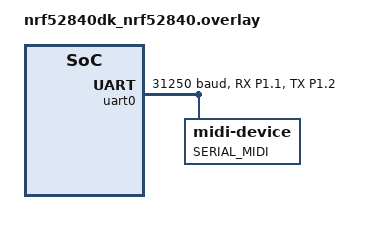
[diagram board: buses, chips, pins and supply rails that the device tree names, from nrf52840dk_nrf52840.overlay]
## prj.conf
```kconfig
# # Enable the UART driver
# CONFIG_UART_ASYNC_API=y
# CONFIG_NRFX_UARTE0=y
# CONFIG_SERIAL=y

# CONFIG_GPIO=y

# # Make sure printk is not printing to the UART console
# CONFIG_CONSOLE=y
# CONFIG_UART_CONSOLE=y

# CONFIG_HEAP_MEM_POOL_SIZE=2048

# CONFIG_MIDI=y
# CONFIG_MIDI_PARSER=y

# # Enable DK LED and Buttons library
# CONFIG_DK_LIBRARY=y

# # This example requires more workqueue stack
# CONFIG_SYSTEM_WORKQUEUE_STACK_SIZE=4096

# # Config logger
# CONFIG_LOG=y
# CONFIG_USE_SEGGER_RTT=y
# CONFIG_LOG_BACKEND_RTT=y
# CONFIG_LOG_BACKEND_UART=n

# CONFIG_ASSERT=y




# Enable DK LED and Buttons library
CONFIG_DK_LIBRARY=y
CONFIG_GPIO=y

# Config logger
CONFIG_LOG=y
CONFIG_USE_SEGGER_RTT=y
CONFIG_LOG_BACKEND_RTT=y
CONFIG_LOG_BACKEND_UART=n


CONFIG_ASSERT=y



# #net buf options
# CONFIG_NET_BUF=y
# CONFIG_NET_BUF_USER_DATA_SIZE=0

CONFIG_MIDI=y
CONFIG_MIDI_SERIAL=y
CONFIG_MIDI_PARSER=y

# CONFIG_MIDI_SYNC=y

CONFIG_HEAP_MEM_POOL_SIZE=512


# Enable the UART driver
CONFIG_UART_ASYNC_API=y
CONFIG_NRFX_UARTE0=y
CONFIG_SERIAL=y
```

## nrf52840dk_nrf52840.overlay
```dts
&pinctrl {
	uart0_default: uart0_default {
		group1 {
			psels = <NRF_PSEL(UART_RX, 1, 1)>;
			bias-pull-up;
		};
		group2 {
			psels = <NRF_PSEL(UART_TX, 1, 2)>;
		};
	};

	uart0_sleep: uart0_sleep {
		group1 {
			psels = <NRF_PSEL(UART_RX, 1, 1)>,
				<NRF_PSEL(UART_TX, 1, 2)>;
			low-power-enable;
		};
	};
};

&uart0 {
	current-speed = <31250>;
    pinctrl-0 = <&uart0_default>;
	pinctrl-1 = <&uart0_sleep>;
    midi_serial_device {
        label = "SERIAL_MIDI";
        compatible = "midi-device";
        midi_serial_in_device{
            compatible = "midi-serial-in-device";
            label = "SERIAL_MIDI_IN";
        };
    
        midi_serial_out_device{
            compatible = "midi-serial-out-device";
            label = "SERIAL_MIDI_OUT";
            handle-timestamps;
        };
    };

};
```

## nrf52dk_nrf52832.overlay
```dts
&pinctrl {
	uart0_default: uart0_default {
		group1 {
			psels = <NRF_PSEL(UART_TX, 0, 12)>,
				<NRF_PSEL(UART_RX, 0, 11)>,
				<NRF_PSEL(UART_RTS, 0, 5)>,
				<NRF_PSEL(UART_CTS, 0, 7)>;
		};
	};

	uart0_sleep: uart0_sleep {
		group1 {
			psels = <NRF_PSEL(UART_TX, 0, 12)>,
				<NRF_PSEL(UART_RX, 0, 11)>,
				<NRF_PSEL(UART_RTS, 0, 5)>,
				<NRF_PSEL(UART_CTS, 0, 7)>;
			low-power-enable;
		};
	};
};

&uart0 {
	current-speed = <31250>;
    pinctrl-0 = <&uart0_default>;
	pinctrl-1 = <&uart0_sleep>;
    midi_serial_device {
        label = "SERIAL_MIDI";
        compatible = "midi-serial-device";
        midi_serial_in_device{
            compatible = "midi-serial-in-device";
            label = "SERIAL_MIDI_IN";
        };
    
        midi_serial_out_device{
            compatible = "midi-serial-out-device";
            label = "SERIAL_MIDI_OUT";
            handle-timestamps;
        };
    };

};
```

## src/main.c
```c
#include <zephyr/types.h>
#include <zephyr/device.h>
#include <soc.h>

#include <dk_buttons_and_leds.h>
#include <midi/midi.h>
#include <midi/midi_parser.h>

#include <zephyr/logging/log.h>

#define LOG_MODULE_NAME midi
LOG_MODULE_REGISTER(LOG_MODULE_NAME);

#define RUN_STATUS_LED DK_LED1
#define RUN_LED_BLINK_INTERVAL 1000

const struct device *serial_midi_in_dev;
const struct device *serial_midi_out_dev;

DEFINE_MIDI_PARSER_SERIAL(serial_parser);

static int midi_serial_sent(const struct device *dev,
			  midi_msg_t *msg,
			  void *user_data)
{
	LOG_INF("MIDI sent!");
	
	midi_msg_unref(msg);

	return 0;
}

static int midi_serial_received(const struct device *dev,
			  midi_msg_t *msg,
			  void *user_data)
{
	midi_msg_t *parsed_msg = midi_parse_serial(msg, &serial_parser);

	midi_msg_unref(msg);
	if (parsed_msg) {
		LOG_HEXDUMP_INF(parsed_msg->data, parsed_msg->len, "parsed:");
		midi_send(serial_midi_out_dev, parsed_msg);
	}
	
	return 0;
}

void main(void)
{
	int blink_status = 0;
	int err;

	serial_midi_in_dev = device_get_binding("SERIAL_MIDI_IN");
	if (!serial_midi_in_dev) {
		LOG_ERR("Can not get serial MIDI Device");
	}

	err = midi_callback_set(serial_midi_in_dev, midi_serial_received, NULL);
	if (err != 0) {
		LOG_ERR("Can not set MIDI IN callbacks");
	}

	serial_midi_out_dev = device_get_binding("SERIAL_MIDI_OUT");
	if (!serial_midi_out_dev) {
		LOG_ERR("Can not get serial MIDI Device");
		// return;
	}

	err = midi_callback_set(serial_midi_out_dev, midi_serial_sent, NULL);
	if (err != 0) {
		LOG_ERR("Can not set MIDI IN callbacks");
	}

	err = dk_leds_init();
	if (err) {
		LOG_ERR("Cannot init LEDs (err: %d)", err);
	}

	for (;;) {
		dk_set_led(RUN_STATUS_LED, (++blink_status) % 2);
		k_sleep(K_MSEC(RUN_LED_BLINK_INTERVAL));
	}
}
```
